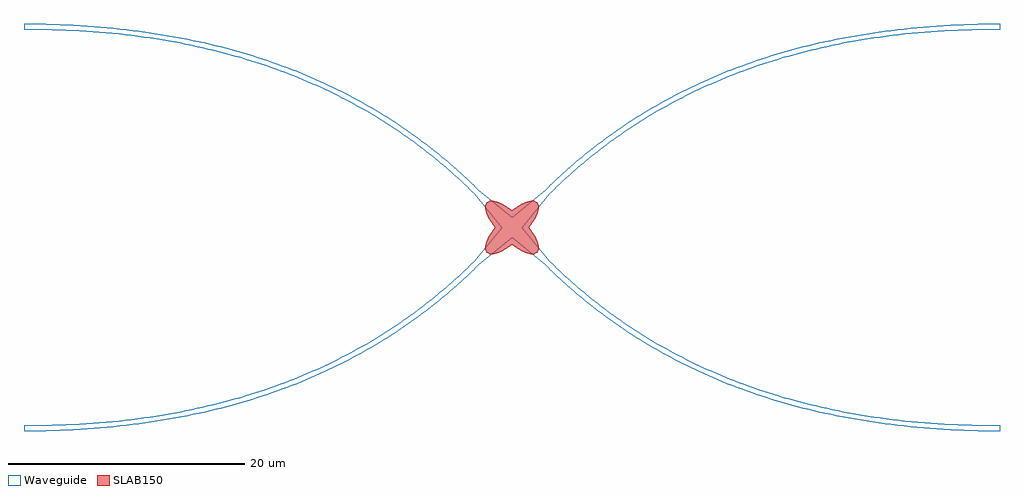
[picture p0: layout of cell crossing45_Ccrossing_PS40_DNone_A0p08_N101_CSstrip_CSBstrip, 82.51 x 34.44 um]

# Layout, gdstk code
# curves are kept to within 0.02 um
from math import pi, radians
import gdstk
lib = gdstk.Library(unit=1e-6, precision=1e-09)
def P(c, l, *ps):  # polygons
    for p in ps: c.add(gdstk.Polygon(p, *l))
Waveguide = (1, 0)
SLAB150 = (2, 0)

crossing_gdsfactorypcomp = lib.new_cell('crossing_gdsfactorypcomponentspwaveguidespcrossing_wave_e9b41af5')
P(crossing_gdsfactorypcomp, Waveguide, [(-2.652,-3.005),(-3.005,-2.652),(-0.849,0),(-3.005,2.652),(-2.652,3.005),(0,0.849),(2.652,3.005),(3.005,2.652),(0.849,0),(3.005,-2.652),(2.652,-3.005),(0,-0.849)])
P(crossing_gdsfactorypcomp, SLAB150, [(-1.734,-2.26),(-2.015,-2.198),(-2.121,-2.121),(-2.198,-2.015),(-2.26,-1.734),(-2.217,-1.413),(-2.053,-0.957),(-1.794,-0.48),(-1.461,0),(-1.923,0.699),(-2.172,1.254),(-2.26,1.734),(-2.198,2.015),(-2.121,2.121),(-2.015,2.198),(-1.734,2.26),(-1.254,2.172),(-0.699,1.923),(0,1.461),(0.699,1.923),(1.254,2.172),(1.734,2.26),(2.015,2.198),(2.121,2.121),(2.198,2.015),(2.26,1.734),(2.172,1.254),(1.923,0.699),(1.461,0),(1.923,-0.699),(2.172,-1.254),(2.26,-1.734),(2.198,-2.015),(2.121,-2.121),(2.015,-2.198),(1.734,-2.26),(1.254,-2.172),(0.699,-1.923),(0,-1.461),(-0.48,-1.794),(-0.957,-2.053),(-1.413,-2.217)])

bezier_gdsfactorypcompon = lib.new_cell('bezier_gdsfactorypcomponentspbendspbend_s_CP2p828427124_d5adfa41')
P(bezier_gdsfactorypcompon, Waveguide, [(42.25,-14.319),(40.394,-12.554),(38.771,-11.166),(36.982,-9.783),(35.019,-8.423),(32.873,-7.108),(30.537,-5.852),(28.376,-4.84),(26.066,-3.898),(23.597,-3.037),(21.418,-2.391),(19.123,-1.818),(16.71,-1.322),(13.654,-0.841),(12.058,-0.65),(10.417,-0.495),(6.996,-0.296),(4,-0.25),(4,0.249),(7.014,0.204),(9.898,0.047),(12.653,-0.214),(14.245,-0.417),(15.793,-0.655),(18.275,-1.12),(21.095,-1.787),(23.75,-2.561),(26.242,-3.43),(28.577,-4.382),(29.688,-4.886),(31.11,-5.582),(32.467,-6.304),(33.762,-7.049),(35.877,-8.394),(37.546,-9.577),(38.839,-10.577),(40.276,-11.781),(41.382,-12.781),(42.603,-13.966)])

c_bezier_gdsfactorypcompon = lib.new_cell('bezier_gdsfactorypcomponentspbendspbend_s_CP2p828427124_d5adfa$1')
P(c_bezier_gdsfactorypcompon, Waveguide, [(-0.249,4),(-0.204,7.014),(-0.047,9.898),(0.214,12.653),(0.572,15.281),(1.02,17.788),(1.669,20.637),(2.426,23.319),(3.279,25.838),(4.218,28.199),(5.23,30.407),(6.489,32.797),(7.811,34.993),(9.181,37.005),(10.777,39.087),(12.382,40.949),(13.966,42.603),(14.319,42.25),(12.554,40.394),(11.562,39.251),(10.769,38.277),(9.196,36.162),(8.423,35.019),(7.665,33.815),(6.562,31.896),(5.508,29.834),(4.678,28.002),(3.748,25.665),(3.037,23.597),(2.391,21.418),(1.818,19.123),(1.322,16.71),(0.841,13.654),(0.65,12.058),(0.495,10.417),(0.296,6.996),(0.25,4)])

crossing45_ccrossing_ps4 = lib.new_cell('crossing45_Ccrossing_PS40_DNone_A0p08_N101_CSstrip_CSBstrip')
crossing45_ccrossing_ps4.add(gdstk.Reference(crossing_gdsfactorypcomp, (0,0)))
crossing45_ccrossing_ps4.add(gdstk.Reference(bezier_gdsfactorypcompon, (45.255,16.971), rotation=pi, x_reflection=True))
crossing45_ccrossing_ps4.add(gdstk.Reference(bezier_gdsfactorypcompon, (-45.255,-16.971), x_reflection=True))
crossing45_ccrossing_ps4.add(gdstk.Reference(c_bezier_gdsfactorypcompon, (45.255,-16.971), rotation=pi/2))
crossing45_ccrossing_ps4.add(gdstk.Reference(c_bezier_gdsfactorypcompon, (-45.255,16.971), rotation=3*pi/2))

lib.write_gds('crossing45_Ccrossing_PS40_DNone_A0p08_N101_CSstrip_CSBstrip.gds')
